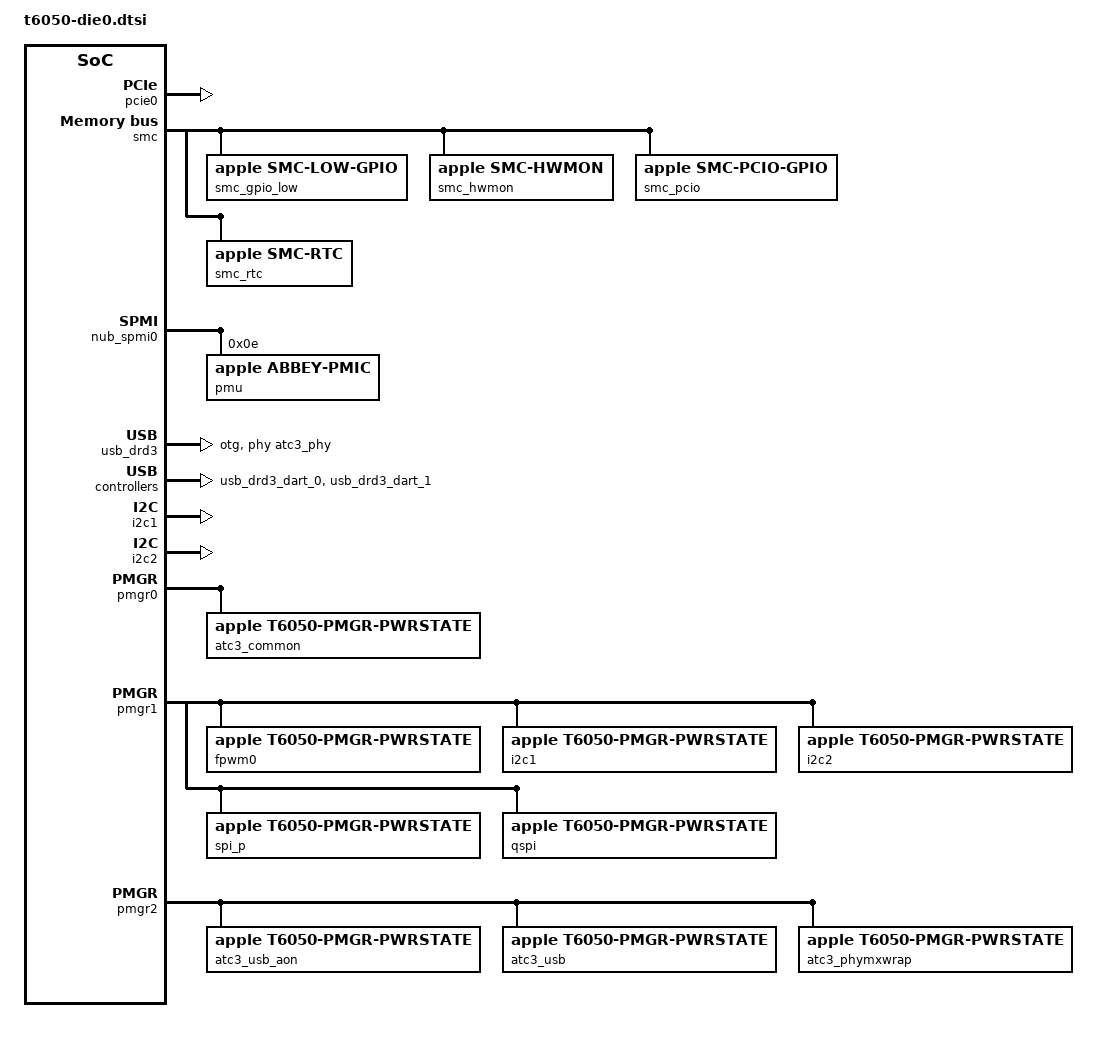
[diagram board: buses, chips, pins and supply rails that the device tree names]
// SPDX-License-Identifier: GPL-2.0+ OR MIT
/*
 * Nodes of the Apple T6050 (M5 Max, M5 Ultra) used on die 0 only: the
 * interrupt controller, which serves every die, and the blocks a two-die
 * part runs from die 0 (the SMC, storage, PCIe, the SPMI buses, the AOP,
 * the boot NOR) or so far describes there only (ATC2 and ATC3, the I2C
 * buses).
 *
 * Copyright The Asahi Linux Contributors
 */

&die0 {
	/* One AIC3 for every die, 3104 interrupts each */
	aic: interrupt-controller@280400000 {
		compatible = "apple,t6050-aic3", "apple,t8122-aic3";
		interrupt-controller;
		#interrupt-cells = <4>;
		reg = <0x2 0x80400000 0x0 0x1cc000>,
		      <0x2 0x80440000 0x0 0x4000>;
		reg-names = "core", "event";
	};

	/*
	 * DockChannel channel 1, the one the USB debug link carries.
	 * Its FIFO raises no interrupt on receive, so it is drained in
	 * software.
	 */
	dockchannel: serial@288e3c000 {
		compatible = "apple,dockchannel-uart";
		reg = <0x2 0x88e3c000 0x0 0x30>,
		      <0x2 0x88e38000 0x0 0x8>,
		      <0x2 0x88e0c000 0x0 0x18>;
		reg-names = "data", "config", "irq";
		interrupts = <AIC_IRQ 0 360 IRQ_TYPE_LEVEL_HIGH>;
		apple,channel = <1>;
		apple,sw-drain;
		status = "disabled";
	};

	wdt: watchdog@28836c000 {
		compatible = "apple,t6050-wdt", "apple,t8103-wdt";
		reg = <0x2 0x8836c000 0x0 0x4000>;
		clocks = <&clkref>;
		interrupts = <AIC_IRQ 0 721 IRQ_TYPE_LEVEL_HIGH>;
	};

	/*
	 * /arm-io/smc: reg[0] 0x8c600000 +0x88000 (the ASC; the SMC driver maps none of it), its mailbox
	 * the ASC v4 block at +0x8000 as on ANS. ADT interrupts [900, 899, 902, 901]: 899..902 in the
	 * send-empty, send-not-empty, recv-empty, recv-not-empty order. iop-smc-nub region-base
	 * 0x28de00000 +0x140000 is already a CPU address: the SRAM its RTKit buffers and key replies use.
	 * iBoot leaves the firmware (t6050smc) running.
	 */
	smc_mbox: mailbox@28c608000 {
		compatible = "apple,t6050-asc-mailbox", "apple,asc-mailbox-v4";
		reg = <0x2 0x8c608000 0x0 0x4000>;
		interrupts = <AIC_IRQ 0 899 IRQ_TYPE_LEVEL_HIGH>,
			     <AIC_IRQ 0 900 IRQ_TYPE_LEVEL_HIGH>,
			     <AIC_IRQ 0 901 IRQ_TYPE_LEVEL_HIGH>,
			     <AIC_IRQ 0 902 IRQ_TYPE_LEVEL_HIGH>;
		interrupt-names = "send-empty", "send-not-empty",
				  "recv-empty", "recv-not-empty";
		#mbox-cells = <0>;
	};

	/*
	 * The AOP's GPIO controller (ADT /arm-io/aop-gpio0, gpio,t8101, 85 pins). The AOP keeps
	 * interrupt groups 0-3; the AP's are 4-6 (supported-int-groups), AIC 572-574. Like T8132's, the block has slots
	 * that fault when read, so it is matched as T8132's (no register cache read-back).
	 * Pin 15 (force-dpfu) is never requested.
	 */
	pinctrl_aop: pinctrl@290824000 {
		compatible = "apple,t6050-pinctrl", "apple,t8132-pinctrl";
		reg = <0x2 0x90824000 0x0 0x4000>;
		gpio-controller;
		#gpio-cells = <2>;
		gpio-ranges = <&pinctrl_aop 0 0 85>;
		apple,npins = <85>;
		interrupt-controller;
		#interrupt-cells = <2>;
		interrupt-parent = <&aic>;
		interrupts = <AIC_IRQ 0 572 IRQ_TYPE_LEVEL_HIGH>,
			     <AIC_IRQ 0 573 IRQ_TYPE_LEVEL_HIGH>,
			     <AIC_IRQ 0 574 IRQ_TYPE_LEVEL_HIGH>;
		apple,irq-group-base = <4>;
		/* Enabled by the board, or by Aura with a display engine whose hotplug input it has */
		status = "disabled";
	};

	smc: smc@28c600000 {
		compatible = "apple,t6050-smc";
		reg = <0x2 0x8c600000 0x0 0x4000>,
		      <0x2 0x8de00000 0x0 0x140000>;
		reg-names = "smc", "sram";
		mboxes = <&smc_mbox>;

		/*
		 * The SMC's second GPIO bank: the lower-case gp keys (gp01 on), next to the
		 * gP keys of the first, as on T6030/T6031. The J716s trackpad's AFE reset is
		 * gp1c (line 28).
		 */
		smc_gpio_low: gpio-low {
			compatible = "apple,smc-low-gpio";
			gpio-controller;
			#gpio-cells = <2>;
		};

		/* T8142's key discovery (every readable T* float key); boards add their fan and power keys. */
		smc_hwmon: hwmon {
			compatible = "apple,smc-hwmon";
			apple,discover-temperatures;
			/* macsmc_soc_die: the SoC hotspot the SMC computes (TCMb, 47.8 C at idle) */
			apple,soc-die-keys = "TCMb";
		};

		/*
		 * The PMU's legacy scratchpad (info-leg_scrpad 0xf800) cells, as on T6040, and its
		 * power-on policy byte (info-pm_setting 0x2001, as on T6030) for ac_power_mode.
		 */
		smc_reboot: reboot {
			compatible = "apple,smc-reboot";
			nvmem-cells = <&shutdown_flag>, <&boot_stage>,
				      <&boot_error_count>, <&panic_count>, <&pm_setting>;
			nvmem-cell-names = "shutdown_flag", "boot_stage",
					   "boot_error_count", "panic_count", "pm_setting";
		};

		/*
		 * The SMC's pcIO power outputs: the board lists its lines (apple,output-commands) as
		 * pKW8('pcIO', lo, hi) templates, (hi << 32) | lo, with the level in bits 15:0.
		 */
		smc_pcio: gpio {
			compatible = "apple,smc-pcio-gpio";
			gpio-controller;
			#gpio-cells = <2>;
		};

		/* ADT info-clock_offset [0x2100, 6]: M1-style 32768 Hz ticks, as on T6040. */
		smc_rtc: rtc {
			compatible = "apple,smc-rtc";
			nvmem-cells = <&rtc_offset>;
			nvmem-cell-names = "rtc_offset";
		};
	};

	/*
	 * The storage SART. The boot loader's entries (outside the
	 * kernel's memory) stay in place.
	 */
	ans_sart: iommu@41dc50000 {
		compatible = "apple,t6050-sart";
		reg = <0x4 0x1dc50000 0x0 0xc000>;
	};

	ans_mbox: mailbox@419608000 {
		compatible = "apple,t6050-asc-mailbox", "apple,asc-mailbox-v4";
		reg = <0x4 0x19608000 0x0 0x4000>;
		interrupts = <AIC_IRQ 0 1347 IRQ_TYPE_LEVEL_HIGH>,
			     <AIC_IRQ 0 1348 IRQ_TYPE_LEVEL_HIGH>,
			     <AIC_IRQ 0 1349 IRQ_TYPE_LEVEL_HIGH>,
			     <AIC_IRQ 0 1350 IRQ_TYPE_LEVEL_HIGH>;
		interrupt-names = "send-empty", "send-not-empty",
				  "recv-empty", "recv-not-empty";
		#mbox-cells = <0>;
	};

	/*
	 * The boot loader leaves ANS running with the controller shut
	 * down. Its power stays with the firmware, and post-M4 ANS is
	 * never reset through PMGR, so the node names no power domain
	 * and no reset.
	 */
	nvme: nvme@45dcc0000 {
		compatible = "apple,t6050-nvme-ans2";
		reg = <0x4 0x5dcc0000 0x0 0x10000>,
		      <0x4 0x19600000 0x0 0x4000>,
		      <0x4 0x1dcc0000 0x0 0x60000>;
		reg-names = "nvme", "ans", "nvmmu";
		interrupts = <AIC_IRQ 0 2338 IRQ_TYPE_LEVEL_HIGH>;
		mboxes = <&ans_mbox>;
		apple,sart = <&ans_sart>;
	};

	/* The DARTs of PCIe ports 2 and 3 */
	dart_apcie2: iommu@412000000 {
		compatible = "apple,t6050-dart", "apple,t8110-dart";
		reg = <0x4 0x12000000 0x0 0x20000>;
		interrupts = <AIC_IRQ 0 1540 IRQ_TYPE_LEVEL_HIGH>;
		#iommu-cells = <1>;
		status = "disabled";
	};

	/*
	 * /arm-io/dart-apcie0: apcie port 0's, which carries the N1 (its mappers Control, Alpha and
	 * Beta on streams 1, 2 and 3). Disabled, like port 0, until the bootloader trains that port.
	 */
	dart_apcie0: iommu@410000000 {
		compatible = "apple,t6050-dart", "apple,t8110-dart";
		reg = <0x4 0x10000000 0x0 0x20000>;
		interrupts = <AIC_IRQ 0 1524 IRQ_TYPE_LEVEL_HIGH>;
		#iommu-cells = <1>;
		status = "disabled";
	};

	/* /arm-io/dart-apcie1: PCIe port 1's DART (the SD reader on the MacBook Pros) */
	dart_apcie1: iommu@411000000 {
		compatible = "apple,t6050-dart", "apple,t8110-dart";
		reg = <0x4 0x11000000 0x0 0x20000>;
		interrupts = <AIC_IRQ 0 1532 IRQ_TYPE_LEVEL_HIGH>;
		#iommu-cells = <1>;
		status = "disabled";
	};

	dart_apcie3: iommu@413000000 {
		compatible = "apple,t6050-dart", "apple,t8110-dart";
		reg = <0x4 0x13000000 0x0 0x20000>;
		interrupts = <AIC_IRQ 0 1548 IRQ_TYPE_LEVEL_HIGH>;
		#iommu-cells = <1>;
		status = "disabled";
	};

	/*
	 * /arm-io/nub-spmi0: reg[0] 0x8a014000 +0x4000, generation 4 (no IRQ: the driver refuses one).
	 * No power-domains: NUB_SPMI0 is critical and on (Aura talks to the PMU here every boot), and
	 * binding the pwrstate driver would write the PS register at probe.
	 */
	nub_spmi0: spmi@28a014000 {
		compatible = "apple,t6050-spmi", "apple,t8142-spmi";
		reg = <0x2 0x8a014000 0x0 0x4000>;
		#address-cells = <2>;
		#size-cells = <0>;

		/* spmi-abbeyL1, is-primary: USID 0xe. Read-only use: cells, never a whole-device read. */
		pmu: pmic@e {
			compatible = "apple,abbey-pmic", "apple,spmi-nvmem";
			reg = <0xe SPMI_USID>;

			nvmem-layout {
				compatible = "fixed-layout";
				#address-cells = <1>;
				#size-cells = <1>;

				/* ADT info-pm_setting: bit 0 no restore, bit 5 no power-on at connect */
				pm_setting: pm-setting@2001 {
					reg = <0x2001 1>;
				};

				rtc_offset: rtc-offset@2100 {
					reg = <0x2100 6>;	/* ADT info-clock_offset */
				};

				/* Abbey conventions (0xf802 is the counter Aura clears). */
				boot_stage: boot-stage@f801 {
					reg = <0xf801 1>;
				};

				boot_error_count: boot-error-count@f802,0 {
					reg = <0xf802 1>;
					bits = <0 4>;
				};

				panic_count: panic-count@f802,4 {
					reg = <0xf802 1>;
					bits = <4 4>;
				};

				shutdown_flag: shutdown-flag@f80f,3 {
					reg = <0xf80f 1>;
					bits = <3 1>;
				};
			};
		};
	};

	/*
	 * The PMC voter interface (die 0): agent a's floor word at "voters" + 0x4000 * a, with a
	 * pending word after it, and the honoured floors and rail enable words at "rails". Both lie
	 * inside dcpext0's PMC metadata range, which the DCP driver only hands to its firmware. Agents
	 * (ADT voter-agent): PMP 0, CLPC 1, GFX 2, AP 3, PMP1 4. The boot loader enables none on any
	 * rail; CLPC and AP become static voters. The PMP and GFX agents stay as the boot left them.
	 */
	pmc: power-management@286806000 {
		compatible = "apple,t6050-pmc";
		reg = <0x2 0x86806000 0x0 0x3000>,
		      <0x2 0x86700000 0x0 0x14000>;
		reg-names = "rails", "voters";
		#address-cells = <1>;
		#size-cells = <0>;
		apple,static-voters = <1 3>;

		clpc: performance-controller@1 {
			compatible = "apple,t6050-clpc", "apple,t6041-clpc";
			reg = <1>;
			apple,smc = <&smc>;
		};
	};

	/*
	 * PMGR block 0 + 0x20000 (/arm-io/pmgr reg[0] 0x280600000 + 0x20000): the page of die 0's
	 * CIO reconfiguration register (+0x60, request BIT(2n), busy BIT(2n + 1)), the routers'
	 * CIOn_RECONFIG_V operations (ADT 601-604). Outside the 16 KiB pmgr0 maps.
	 */
	cio_reconfig0: reset-controller@280620000 {
		compatible = "apple,t6050-cio-reset";
		reg = <0x2 0x80620000 0x0 0x4000>;
		#reset-cells = <1>;
		status = "disabled";
	};

	/* /arm-io/acio-phy-cpu2 reg[0]: the PHY firmware's mailbox (it runs, pre-loaded by iBoot) */
	atc2_phy_mbox: mailbox@383148000 {
		compatible = "apple,t6050-asc-mailbox", "apple,asc-mailbox-v4";
		reg = <0x3 0x83148000 0x0 0x4000>;
		interrupts = <AIC_IRQ 0 861 IRQ_TYPE_LEVEL_HIGH>,
			     <AIC_IRQ 0 862 IRQ_TYPE_LEVEL_HIGH>,
			     <AIC_IRQ 0 863 IRQ_TYPE_LEVEL_HIGH>,
			     <AIC_IRQ 0 864 IRQ_TYPE_LEVEL_HIGH>;
		interrupt-names = "send-empty", "send-not-empty", "recv-empty", "recv-not-empty";
		#mbox-cells = <0>;
		status = "disabled";
	};

	/* /arm-io/atc-phy2 regs [2] [0] usb-drd2[4] [39] [40] [41] [42] [43] [38] [37] usb-drd2[3] */
	atc2_phy: phy@383000000 {
		compatible = "apple,t6050-combo-phy";
		reg = <0x3 0x83000000 0x0 0x2c000>,
		      <0x3 0x82a90000 0x0 0x4000>,
		      <0x3 0x82800000 0x0 0x4000>,
		      <0x3 0x83200000 0x0 0x4000>,
		      <0x3 0x83244000 0x0 0x4000>,
		      <0x3 0x80000000 0x0 0x8000>,
		      <0x3 0x80020000 0x0 0x4000>,
		      <0x3 0x83250000 0x0 0x4000>,
		      <0x3 0x83140000 0x0 0x4000>,
		      <0x3 0x830c0000 0x0 0x10000>,
		      <0x3 0x82a84000 0x0 0x4000>;
		reg-names = "core", "usb2phy", "usb2-digital", "reset", "fabric", "axi2af", "lioa",
			    "common-cfg", "usb-control", "firmware-data", "pipehandler";
		#phy-cells = <1>;
		#reset-cells = <1>;
		apple,port-index = <2>;
		/* The binding's name for "no other owner"; nothing else drives this port here. */
		apple,guest-port-reserved;
		mode-switch;
		orientation-switch;
		mboxes = <&atc2_phy_mbox>;
		power-domains = <&ps_atc2_usb_aon>, <&ps_atc2_common>, <&ps_atc2_phymxwrap>,
				<&ps_atc2_usb>;
		power-domain-names = "usb-aon", "common", "wrapper", "usb";
		status = "disabled";
	};

	/* /arm-io/atc2-dpxbar */
	atc2_xbar: mux@38324c000 {
		compatible = "apple,t6050-display-crossbar", "apple,t8142-display-crossbar";
		reg = <0x3 0x8324c000 0x0 0x4000>;
		#mux-control-cells = <1>;
		power-domains = <&ps_atc2_usb_aon>, <&ps_atc2_common>;
		power-domain-names = "usb-aon", "common";
		status = "disabled";
	};

	/*
	 * /arm-io/nub-spmi-a0: reg[0] 0x8a188000, generation 4, a bus of the USB-C PD controllers
	 * (HPMs, the board's). They are polled (no interrupts), so the bus needs none either.
	 */
	nub_spmi_a0: spmi@28a188000 {
		compatible = "apple,t6050-spmi", "apple,t8142-spmi";
		reg = <0x2 0x8a188000 0x0 0x4000>;
		#address-cells = <2>;
		#size-cells = <0>;
	};

	/*
	 * ATC2's usb-drd2 and dart-usb2, for USB beside DisplayPort on ATC2. Disabled, like atc2_phy
	 * and its domains: dcpext0's display handoff or the board enables them.
	 */
	/* /arm-io/usb-drd2: reg[0] (core and Apple regions), reg[1] (drd-cfg), interrupt 1483; ATC1's tunables */
	usb_drd2: usb@382280000 {
		compatible = "apple,t6050-dwc3", "apple,t8103-dwc3";
		reg = <0x3 0x82280000 0x0 0xcd00>,
		      <0x3 0x8228cd00 0x0 0x4b00>,
		      <0x3 0x82200000 0x0 0x4000>;
		reg-names = "dwc3-core", "dwc3-apple", "drd-cfg";
		interrupts = <AIC_IRQ 0 1483 IRQ_TYPE_LEVEL_HIGH>;
		dr_mode = "otg";
		usb-role-switch;
		role-switch-default-mode = "host";
		iommus = <&usb_drd2_dart_0 0>, <&usb_drd2_dart_1 1>;
		power-domains = <&ps_atc2_usb>;
		resets = <&atc2_phy 0>;
		phys = <&atc2_phy PHY_TYPE_USB2>, <&atc2_phy PHY_TYPE_USB3>;
		phy-names = "usb2-phy", "usb3-phy";
		apple,tunable-gbl-default = <0x64 0x2 0x0>, <0x10 0xfff80000 0x00680000>;
		apple,tunable-gbl-host = <0x4 0x0001ef00 0x00002f00>, <0x1c 0x00000100 0x0>,
			<0x2c 0x000a07ff 0x000800c8>, <0x100 0x02000100 0x02000100>,
			<0x504 0x00001000 0x0>, <0x528 0xff0000ff 0x06000006>,
			<0x52c 0xff0000ff 0x08000008>, <0x580 0xffffffff 0x6f000006>,
			<0x584 0xffffffff 0x00060000>;
		apple,tunable-dbg = <0x0 0x8 0x8>;
		apple,tunable-cfg-host = <0x20 0xff 0x1b>;
		apple,tunable-link = <0x10 0xff000000 0xff000000>, <0x20 0x7ff00000 0x4e900000>,
			<0x24 0x001f8000 0x000b8000>, <0x60 0x0003ffff 0x00000600>;
		apple,tunable-cio = <0x20 0x00ff0000 0x001e0000>;
		/* USB beside DisplayPort: enabled with atc2_phy. */
		status = "disabled";
	};

	/* /arm-io/dart-usb2 reg[0] and reg[1], interrupt 1487; vm-base 0x10000004000 +0xffff0000 */
	usb_drd2_dart_0: iommu@382f00000 {
		compatible = "apple,t6050-dart", "apple,t8110-dart";
		reg = <0x3 0x82f00000 0x0 0xc000>;
		interrupts = <AIC_IRQ 0 1487 IRQ_TYPE_LEVEL_HIGH>;
		power-domains = <&ps_atc2_usb>;
		#iommu-cells = <1>;
		apple,dma-range = <0x100 0x4000 0x0 0xffff0000>;
		status = "disabled";
	};

	usb_drd2_dart_1: iommu@382f80000 {
		compatible = "apple,t6050-dart", "apple,t8110-dart";
		reg = <0x3 0x82f80000 0x0 0xc000>;
		interrupts = <AIC_IRQ 0 1487 IRQ_TYPE_LEVEL_HIGH>;
		power-domains = <&ps_atc2_usb>;
		#iommu-cells = <1>;
		apple,dma-range = <0x100 0x4000 0x0 0xffff0000>;
		status = "disabled";
	};

	/*
	 * ATC3: its combo PHY, usb-drd3 and dart-usb3, as ATC1's (ADT /arm-io/atc-phy3,
	 * acio-phy-cpu3, usb-drd3, dart-usb3), and its USB4/Thunderbolt router.
	 */
	/*
	 * ATC3's USB4/Thunderbolt router (/arm-io/acio3: rid 3, compatible acio,v2): the router
	 * coprocessor's mailbox, /arm-io/acio-cpu3 reg[0]. Its ADT interrupts
	 * are [868, 867, 870, 869]: send-empty is index 1 and recv-not-empty index 2, as for the
	 * PHY mailboxes. Disabled until the router driver is in.
	 */
	usb4_3_mbox: mailbox@389108000 {
		compatible = "apple,t6050-asc-mailbox", "apple,asc-mailbox-v4";
		reg = <0x3 0x89108000 0x0 0x4000>;
		interrupts = <AIC_IRQ 0 867 IRQ_TYPE_LEVEL_HIGH>,
			     <AIC_IRQ 0 868 IRQ_TYPE_LEVEL_HIGH>,
			     <AIC_IRQ 0 869 IRQ_TYPE_LEVEL_HIGH>,
			     <AIC_IRQ 0 870 IRQ_TYPE_LEVEL_HIGH>;
		interrupt-names = "send-empty", "send-not-empty", "recv-empty", "recv-not-empty";
		#mbox-cells = <0>;
		status = "disabled";
	};

	/*
	 * /arm-io/acio3 reg[1..3] (RC 0x389ac0000, HBW and LBW fabric: one 0xc000 window),
	 * the coprocessor's data SRAM (iop-acio3-nub segment __DATA at 0x389080000, firmware
	 * address 0x10000000, 0x26000) and its MxWrap wrapper (acio-cpu3 reg[1]); the 16 MiB
	 * window at 0x389000000 holds the children. Power: power-gates [122, 85, 120, 121] in
	 * the order the coprocessor's start powers them. The loader fills apple,tunable-rc
	 * (top, HBW and LBW tables) through the usb4-3-acio alias.
	 */
	usb4_3_acio: cio@389ac0000 {
		compatible = "apple,t6050-usb4-acio";
		reg = <0x3 0x89ac0000 0x0 0xc000>,
		      <0x3 0x89080000 0x0 0x26000>,
		      <0x3 0x89100000 0x0 0x4000>;
		reg-names = "rc", "sram", "cpu";
		mboxes = <&usb4_3_mbox>;
		resets = <&cio_reconfig0 3>;
		power-domains = <&ps_atc3_cio>, <&ps_atc3_cio_pcie>, <&ps_atc3_cio_usb>,
				<&ps_atc3_cio_auss>;
		thunderbolt-switch;
		#address-cells = <1>;
		#size-cells = <1>;
		ranges = <0x0 0x3 0x89000000 0x1000000>;
		nonposted-mmio;
		status = "disabled";

		/*
		 * /arm-io/dart-acio3 reg[0] (0x389a80000), interrupt 1702, sid-count 28, page-size
		 * 16384. The loader fills apple,tunable (dart-tunables-instance-0, 22 records).
		 */
		usb4_3_dart: iommu@a80000 {
			compatible = "apple,t6050-dart", "apple,t8110-dart";
			reg = <0xa80000 0xc000>;
			interrupt-parent = <&aic>;
			interrupts = <AIC_IRQ 0 1702 IRQ_TYPE_LEVEL_HIGH>;
			#iommu-cells = <5>;
		};

		/*
		 * /arm-io/acio3 reg[0] (0x389f00000). Its ADT interrupts list RX rings 1687-1698,
		 * then TX 1675-1686 (ring indices number TX first), then 1704, which is not a
		 * ring. Streams: TX 0-11, RX 16-27 (dart-acio3 sid), each in the DART's vm-base
		 * 0x10000000000 + vm-size 0x30000000000. The loader fills apple,tunable-nhi
		 * (hi_up/hi_dn merge and fw_int_ctl_management tables) and the DROM through the
		 * usb4-3-nhi alias.
		 */
		usb4_3_nhi: nhi@f00000 {
			compatible = "apple,t6050-usb4-nhi";
			reg = <0xf00000 0x100000>;
			reg-names = "nhi";
			interrupt-parent = <&aic>;
			interrupts = <AIC_IRQ 0 1675 IRQ_TYPE_LEVEL_HIGH>,
				     <AIC_IRQ 0 1676 IRQ_TYPE_LEVEL_HIGH>,
				     <AIC_IRQ 0 1677 IRQ_TYPE_LEVEL_HIGH>,
				     <AIC_IRQ 0 1678 IRQ_TYPE_LEVEL_HIGH>,
				     <AIC_IRQ 0 1679 IRQ_TYPE_LEVEL_HIGH>,
				     <AIC_IRQ 0 1680 IRQ_TYPE_LEVEL_HIGH>,
				     <AIC_IRQ 0 1681 IRQ_TYPE_LEVEL_HIGH>,
				     <AIC_IRQ 0 1682 IRQ_TYPE_LEVEL_HIGH>,
				     <AIC_IRQ 0 1683 IRQ_TYPE_LEVEL_HIGH>,
				     <AIC_IRQ 0 1684 IRQ_TYPE_LEVEL_HIGH>,
				     <AIC_IRQ 0 1685 IRQ_TYPE_LEVEL_HIGH>,
				     <AIC_IRQ 0 1686 IRQ_TYPE_LEVEL_HIGH>,
				     <AIC_IRQ 0 1687 IRQ_TYPE_LEVEL_HIGH>,
				     <AIC_IRQ 0 1688 IRQ_TYPE_LEVEL_HIGH>,
				     <AIC_IRQ 0 1689 IRQ_TYPE_LEVEL_HIGH>,
				     <AIC_IRQ 0 1690 IRQ_TYPE_LEVEL_HIGH>,
				     <AIC_IRQ 0 1691 IRQ_TYPE_LEVEL_HIGH>,
				     <AIC_IRQ 0 1692 IRQ_TYPE_LEVEL_HIGH>,
				     <AIC_IRQ 0 1693 IRQ_TYPE_LEVEL_HIGH>,
				     <AIC_IRQ 0 1694 IRQ_TYPE_LEVEL_HIGH>,
				     <AIC_IRQ 0 1695 IRQ_TYPE_LEVEL_HIGH>,
				     <AIC_IRQ 0 1696 IRQ_TYPE_LEVEL_HIGH>,
				     <AIC_IRQ 0 1697 IRQ_TYPE_LEVEL_HIGH>,
				     <AIC_IRQ 0 1698 IRQ_TYPE_LEVEL_HIGH>;
			interrupt-names = "txring0", "txring1", "txring2", "txring3",
					  "txring4", "txring5", "txring6", "txring7",
					  "txring8", "txring9", "txring10", "txring11",
					  "rxring0", "rxring1", "rxring2", "rxring3",
					  "rxring4", "rxring5", "rxring6", "rxring7",
					  "rxring8", "rxring9", "rxring10", "rxring11";
			iommus = <&usb4_3_dart 0 0x100 0x0 0x300 0x0>,
				 <&usb4_3_dart 1 0x100 0x0 0x300 0x0>,
				 <&usb4_3_dart 2 0x100 0x0 0x300 0x0>,
				 <&usb4_3_dart 3 0x100 0x0 0x300 0x0>,
				 <&usb4_3_dart 4 0x100 0x0 0x300 0x0>,
				 <&usb4_3_dart 5 0x100 0x0 0x300 0x0>,
				 <&usb4_3_dart 6 0x100 0x0 0x300 0x0>,
				 <&usb4_3_dart 7 0x100 0x0 0x300 0x0>,
				 <&usb4_3_dart 8 0x100 0x0 0x300 0x0>,
				 <&usb4_3_dart 9 0x100 0x0 0x300 0x0>,
				 <&usb4_3_dart 10 0x100 0x0 0x300 0x0>,
				 <&usb4_3_dart 11 0x100 0x0 0x300 0x0>,
				 <&usb4_3_dart 16 0x100 0x0 0x300 0x0>,
				 <&usb4_3_dart 17 0x100 0x0 0x300 0x0>,
				 <&usb4_3_dart 18 0x100 0x0 0x300 0x0>,
				 <&usb4_3_dart 19 0x100 0x0 0x300 0x0>,
				 <&usb4_3_dart 20 0x100 0x0 0x300 0x0>,
				 <&usb4_3_dart 21 0x100 0x0 0x300 0x0>,
				 <&usb4_3_dart 22 0x100 0x0 0x300 0x0>,
				 <&usb4_3_dart 23 0x100 0x0 0x300 0x0>,
				 <&usb4_3_dart 24 0x100 0x0 0x300 0x0>,
				 <&usb4_3_dart 25 0x100 0x0 0x300 0x0>,
				 <&usb4_3_dart 26 0x100 0x0 0x300 0x0>,
				 <&usb4_3_dart 27 0x100 0x0 0x300 0x0>;
			/* To be filled by the loader */
			apple,thunderbolt-drom = [00];
		};
	};

	/* /arm-io/acio-phy-cpu3 reg[0]: the PHY firmware's mailbox */
	atc3_phy_mbox: mailbox@38b148000 {
		compatible = "apple,t6050-asc-mailbox", "apple,asc-mailbox-v4";
		reg = <0x3 0x8b148000 0x0 0x4000>;
		interrupts = <AIC_IRQ 0 871 IRQ_TYPE_LEVEL_HIGH>,
			     <AIC_IRQ 0 872 IRQ_TYPE_LEVEL_HIGH>,
			     <AIC_IRQ 0 873 IRQ_TYPE_LEVEL_HIGH>,
			     <AIC_IRQ 0 874 IRQ_TYPE_LEVEL_HIGH>;
		interrupt-names = "send-empty", "send-not-empty", "recv-empty", "recv-not-empty";
		#mbox-cells = <0>;
	};

	/* /arm-io/atc-phy3 regs [2] [0] usb-drd3[4] [39] [40] [41] [42] [43] [38] [37] usb-drd3[3] */
	atc3_phy: phy@38b000000 {
		compatible = "apple,t6050-combo-phy";
		reg = <0x3 0x8b000000 0x0 0x2c000>,
		      <0x3 0x8aa90000 0x0 0x4000>,
		      <0x3 0x8a800000 0x0 0x4000>,
		      <0x3 0x8b200000 0x0 0x4000>,
		      <0x3 0x8b244000 0x0 0x4000>,
		      <0x3 0x88000000 0x0 0x8000>,
		      <0x3 0x88020000 0x0 0x4000>,
		      <0x3 0x8b250000 0x0 0x4000>,
		      <0x3 0x8b140000 0x0 0x4000>,
		      <0x3 0x8b0c0000 0x0 0x10000>,
		      <0x3 0x8aa84000 0x0 0x4000>;
		reg-names = "core", "usb2phy", "usb2-digital", "reset", "fabric", "axi2af", "lioa",
			    "common-cfg", "usb-control", "firmware-data", "pipehandler";
		#phy-cells = <1>;
		#reset-cells = <1>;
		apple,port-index = <3>;
		apple,guest-port-reserved;
		mode-switch;
		orientation-switch;
		mboxes = <&atc3_phy_mbox>;
		power-domains = <&ps_atc3_usb_aon>, <&ps_atc3_common>, <&ps_atc3_phymxwrap>,
				<&ps_atc3_usb>;
		power-domain-names = "usb-aon", "common", "wrapper", "usb";
	};

	/* /arm-io/usb-drd3: reg[0] (core and Apple regions), reg[1] (drd-cfg), interrupt 1515; ATC1's tunables */
	usb_drd3: usb@38a280000 {
		compatible = "apple,t6050-dwc3", "apple,t8103-dwc3";
		reg = <0x3 0x8a280000 0x0 0xcd00>,
		      <0x3 0x8a28cd00 0x0 0x4b00>,
		      <0x3 0x8a200000 0x0 0x4000>;
		reg-names = "dwc3-core", "dwc3-apple", "drd-cfg";
		interrupts = <AIC_IRQ 0 1515 IRQ_TYPE_LEVEL_HIGH>;
		dr_mode = "otg";
		usb-role-switch;
		role-switch-default-mode = "host";
		iommus = <&usb_drd3_dart_0 0>, <&usb_drd3_dart_1 1>;
		power-domains = <&ps_atc3_usb>;
		resets = <&atc3_phy 0>;
		phys = <&atc3_phy PHY_TYPE_USB2>, <&atc3_phy PHY_TYPE_USB3>;
		phy-names = "usb2-phy", "usb3-phy";
		apple,tunable-gbl-default = <0x64 0x2 0x0>, <0x10 0xfff80000 0x00680000>;
		apple,tunable-gbl-host = <0x4 0x0001ef00 0x00002f00>, <0x1c 0x00000100 0x0>,
			<0x2c 0x000a07ff 0x000800c8>, <0x100 0x02000100 0x02000100>,
			<0x504 0x00001000 0x0>, <0x528 0xff0000ff 0x06000006>,
			<0x52c 0xff0000ff 0x08000008>, <0x580 0xffffffff 0x6f000006>,
			<0x584 0xffffffff 0x00060000>;
		apple,tunable-dbg = <0x0 0x8 0x8>;
		apple,tunable-cfg-host = <0x20 0xff 0x1b>;
		apple,tunable-link = <0x10 0xff000000 0xff000000>, <0x20 0x7ff00000 0x4e900000>,
			<0x24 0x001f8000 0x000b8000>, <0x60 0x0003ffff 0x00000600>;
		apple,tunable-cio = <0x20 0x00ff0000 0x001e0000>;
	};

	/* /arm-io/dart-usb3 reg[0] and reg[1], interrupt 1519; vm-base 0x10000004000 +0xffff0000 */
	usb_drd3_dart_0: iommu@38af00000 {
		compatible = "apple,t6050-dart", "apple,t8110-dart";
		reg = <0x3 0x8af00000 0x0 0xc000>;
		interrupts = <AIC_IRQ 0 1519 IRQ_TYPE_LEVEL_HIGH>;
		power-domains = <&ps_atc3_usb>;
		#iommu-cells = <1>;
		apple,dma-range = <0x100 0x4000 0x0 0xffff0000>;
	};

	usb_drd3_dart_1: iommu@38af80000 {
		compatible = "apple,t6050-dart", "apple,t8110-dart";
		reg = <0x3 0x8af80000 0x0 0xc000>;
		interrupts = <AIC_IRQ 0 1519 IRQ_TYPE_LEVEL_HIGH>;
		power-domains = <&ps_atc3_usb>;
		#iommu-cells = <1>;
		apple,dma-range = <0x100 0x4000 0x0 0xffff0000>;
	};

	/*
	 * /arm-io/nub-spmi-a2: reg[0] 0x8a1c8000, generation 4, on die 0 like nub-spmi-a0, also for
	 * the HPMs of ports on die 1. Its HPMs are polled, as a0's are.
	 */
	nub_spmi_a2: spmi@28a1c8000 {
		compatible = "apple,t6050-spmi", "apple,t8142-spmi";
		reg = <0x2 0x8a1c8000 0x0 0x4000>;
		#address-cells = <2>;
		#size-cells = <0>;
	};

	/*
	 * The AOP's audio path: the AP GPIO block, the I2C1/I2C2 buses and their power states (in
	 * pmgr1, below), and the AOP with its mailbox, dart-aop and the ADMAC its audio streams use.
	 * From the ADT (arm-io ranges +0x200000000). The AOP, its mailboxes, dart-aop and the ADMAC are
	 * disabled here: iBoot leaves the AOP halted on locked dart-aop tables, and the boards that
	 * boot it enable them.
	 */
	pinctrl_ap: pinctrl@29c000000 {
		compatible = "apple,t6050-pinctrl", "apple,t8103-pinctrl";
		reg = <0x2 0x9c000000 0x0 0x44000>;
		gpio-controller;
		#gpio-cells = <2>;
		gpio-ranges = <&pinctrl_ap 0 0 221>;
		apple,npins = <221>;
		interrupt-controller;
		#interrupt-cells = <2>;
		interrupt-parent = <&aic>;
		interrupts = <AIC_IRQ 0 486 IRQ_TYPE_LEVEL_HIGH>,
			     <AIC_IRQ 0 487 IRQ_TYPE_LEVEL_HIGH>,
			     <AIC_IRQ 0 488 IRQ_TYPE_LEVEL_HIGH>,
			     <AIC_IRQ 0 489 IRQ_TYPE_LEVEL_HIGH>,
			     <AIC_IRQ 0 490 IRQ_TYPE_LEVEL_HIGH>,
			     <AIC_IRQ 0 491 IRQ_TYPE_LEVEL_HIGH>,
			     <AIC_IRQ 0 492 IRQ_TYPE_LEVEL_HIGH>;
	};

	i2c1: i2c@505014000 {
		compatible = "apple,t6050-i2c", "apple,t8103-i2c";
		reg = <0x5 0x05014000 0x0 0x4000>;
		clocks = <&clkref>;
		interrupt-parent = <&aic>;
		interrupts = <AIC_IRQ 0 1376 IRQ_TYPE_LEVEL_HIGH>;
		#address-cells = <1>;
		#size-cells = <0>;
		power-domains = <&ps_i2c1>;
	};

	i2c2: i2c@505018000 {
		compatible = "apple,t6050-i2c", "apple,t8103-i2c";
		reg = <0x5 0x05018000 0x0 0x4000>;
		clocks = <&clkref>;
		interrupt-parent = <&aic>;
		interrupts = <AIC_IRQ 0 1377 IRQ_TYPE_LEVEL_HIGH>;
		#address-cells = <1>;
		#size-cells = <0>;
		power-domains = <&ps_i2c2>;
	};

	/*
	 * The three FPWM channels (ADT /arm-io/pwm0, pwm1, pwm2, "fpwm,s5l8920x") at
	 * 0x305040000, 0x305044000 and 0x305048000, clock gates FPWM0..FPWM2. The boards say
	 * what drives each one: on the MacBook Pros pwm0 is the keyboard backlight, and on the
	 * PROLED models pwm1 is the rear Apple logo. pwm1's power state is left off unless a
	 * board uses it, since J716c's ADT ties it to the indicator controller (eic).
	 */
	fpwm0: pwm@505040000 {
		compatible = "apple,t6050-fpwm", "apple,s5l-fpwm";
		reg = <0x5 0x05040000 0x0 0x4000>;
		clocks = <&clkref>;
		power-domains = <&ps_fpwm0>;
		#pwm-cells = <2>;
		status = "disabled";
	};

	fpwm1: pwm@505044000 {
		compatible = "apple,t6050-fpwm", "apple,s5l-fpwm";
		reg = <0x5 0x05044000 0x0 0x4000>;
		clocks = <&clkref>;
		power-domains = <&ps_fpwm1>;
		#pwm-cells = <2>;
		status = "disabled";
	};

	fpwm2: pwm@505048000 {
		compatible = "apple,t6050-fpwm", "apple,s5l-fpwm";
		reg = <0x5 0x05048000 0x0 0x4000>;
		clocks = <&clkref>;
		power-domains = <&ps_fpwm2>;
		#pwm-cells = <2>;
		status = "disabled";
	};

	/*
	 * The boot NOR (ADT /arm-io/qspi, "qspi,qspimc"): P at 0x305118000 and C at P + 0x800,
	 * each 0x4000 in the ADT; one resource for their union. Interrupt 1373, clock id 440
	 * (/arm-io clock-frequencies[184], 405 MHz). spi-apple-qspi's T8140 policy: data
	 * reads anywhere, programs and erases only inside the nvram partition.
	 */
	qspi: spi@505118000 {
		compatible = "apple,t6050-qspi", "apple,t8140-qspi";
		reg = <0x5 0x05118000 0x0 0x4800>;
		clocks = <&clk_405m>;
		interrupt-parent = <&aic>;
		interrupts = <AIC_IRQ 0 1373 IRQ_TYPE_LEVEL_HIGH>;
		power-domains = <&ps_qspi>;
		#address-cells = <1>;
		#size-cells = <0>;
		status = "disabled";
	};

	/* The ASC v4 mailbox at the AOP ASC + 0x8000; ADT interrupts 578..581 in mailbox order */
	aop_mbox: mailbox@290608000 {
		compatible = "apple,t6050-asc-mailbox", "apple,asc-mailbox-v4";
		reg = <0x2 0x90608000 0x0 0x4000>;
		interrupts = <AIC_IRQ 0 578 IRQ_TYPE_LEVEL_HIGH>,
			     <AIC_IRQ 0 579 IRQ_TYPE_LEVEL_HIGH>,
			     <AIC_IRQ 0 580 IRQ_TYPE_LEVEL_HIGH>,
			     <AIC_IRQ 0 581 IRQ_TYPE_LEVEL_HIGH>;
		interrupt-names = "send-empty", "send-not-empty",
				  "recv-empty", "recv-not-empty";
		#mbox-cells = <0>;
		status = "disabled";
	};

	/*
	 * dart-aop: streams 0 (AOP), 3, 8 (admac-base-ns), 10 and 16 are the AP's; 1, 9 and 11 are
	 * exclave streams. iBoot leaves its tables locked on the ADT's l1-tt roots: each consumer
	 * binds one stream and the locked-DART path publishes into its free slots.
	 */
	aop_dart: iommu@290fc0000 {
		compatible = "apple,t6050-dart", "apple,t8110-dart";
		reg = <0x2 0x90fc0000 0x0 0xc000>;
		#iommu-cells = <1>;
		interrupt-parent = <&aic>;
		interrupts = <AIC_IRQ 0 616 IRQ_TYPE_LEVEL_HIGH>;
		status = "disabled";
	};

	/* ADT admac-base-ns: 13 TX and 13 RX channels; the AOP firmware owns its fabric */
	admac_base_ns: dma-controller@293800000 {
		compatible = "apple,t6050-admac", "apple,t8140-admac";
		reg = <0x2 0x93800000 0x0 0x34000>;
		dma-channels = <13>;
		interrupts-extended = <&aic AIC_IRQ 0 637 IRQ_TYPE_LEVEL_HIGH>,
				      <0>, <0>, <0>;
		#dma-cells = <1>;
		iommus = <&aop_dart 8>;
		apple,dma-range = <0x110 0x00000000 0x0 0x10000000>;
		status = "disabled";
	};

	/*
	 * The AOP: its SRAM window (ADT reg[2]) and its ASC (reg[0]). Its firmware is loaded and
	 * left halted by iBoot. Booted as on T8142, over the RTKit mailbox and the setup port.
	 */
	aop: aop@290c00000 {
		compatible = "apple,t6050-aop", "apple,t8152-aop";
		reg = <0x2 0x90c00000 0x0 0x1e0000>,
		      <0x2 0x90600000 0x0 0x4000>;
		reg-names = "mmio", "asc";
		mboxes = <&aop_mbox>, <&aop_setup_mbox>;
		mbox-names = "mbox", "setup";
		iommus = <&aop_dart 0>;
		apple,dma-range = <0x110 0x0 0x10 0x0>;
		status = "disabled";

		/*
		 * ADT iop-audio-controller: cout/cin (the jack) on base-ns TX2/RX2, spkr on TX0 with
		 * the amp's V/I sense on RX0 (Linux channel 2N for TX N, 2N+1 for RX N).
		 */
		aop_audio: audio {
			compatible = "apple,t6050-aop-audio";
			dmas = <&admac_base_ns 4>, <&admac_base_ns 5>,
			       <&admac_base_ns 0>, <&admac_base_ns 1>;
			dma-names = "cout", "cin", "spkr", "sense";
			#sound-dai-cells = <1>;
		};

		/*
		 * The firmware's "als" service, a VD6286. It reports once it has the machine's
		 * calibration, which the driver loads as apple/aop-als-cal.bin.
		 */
		aop_als: als {
			compatible = "apple,t6050-aop-als", "apple,aop-als";
			firmware-name = "apple/aop-als-cal.bin";
		};

		/* The firmware's "las" service: the lid angle, as on T6020 and T8112. */
		aop_las: las {
			compatible = "apple,t6050-aop-las", "apple,aop-las";
		};
	};
};

/*
 * The Type-C chains of ATC2 and ATC3 and the routers' shared AUSS, all disabled where the board
 * or the display handoff enables them (ATC2's: what dcpext0 references, its PHY's mailbox and
 * power domains). Addresses from the ADT (arm-io ranges +0x200000000).
 */
&pmgr0 {
	ps_atc2_common: power-controller@238 {
		compatible = "apple,t6050-pmgr-pwrstate", "apple,t8103-pmgr-pwrstate";
		reg = <0x238 4>;
		label = "atc2_common";
		#power-domain-cells = <0>;
		#reset-cells = <0>;
		status = "disabled";
	};

	/* ATC3_COMMON, ADT gate 62. Its parent FAB5_SOC (+0x1f0) is critical: always on. */
	ps_atc3_common: power-controller@240 {
		compatible = "apple,t6050-pmgr-pwrstate", "apple,t8103-pmgr-pwrstate";
		reg = <0x240 4>;
		label = "atc3_common";
		#power-domain-cells = <0>;
		#reset-cells = <0>;
	};

	/*
	 * AUSS, ADT gate 63 (+0x248), parent FAB5_SOC: the shared parent of die 0's
	 * router CIO_AUSS domains. Its other users are not described, so Linux never
	 * turns it off under them.
	 */
	ps_auss: power-controller@248 {
		compatible = "apple,t6050-pmgr-pwrstate", "apple,t8103-pmgr-pwrstate";
		reg = <0x248 4>;
		label = "auss";
		#power-domain-cells = <0>;
		#reset-cells = <0>;
		apple,always-on;
		status = "disabled";
	};

	/*
	 * ATC3's USB4 router (/arm-io/acio3 power-gates [122, 85, 120, 121]):
	 * ATC3_CIO gate 85 (+0x2f8, parent 62), ATC3_CIO_PCIE 120 (+0x410) and ATC3_CIO_USB
	 * 121 (+0x418, parent 85), ATC3_CIO_AUSS 122 (+0x420, parents 85 and 63). Its
	 * clock-gate 604, CIO3_RECONFIG_V, has no power state: it is cio_reconfig0's reset 3.
	 */
	ps_atc3_cio: power-controller@2f8 {
		compatible = "apple,t6050-pmgr-pwrstate", "apple,t8103-pmgr-pwrstate";
		reg = <0x2f8 4>;
		label = "atc3_cio";
		#power-domain-cells = <0>;
		#reset-cells = <0>;
		power-domains = <&ps_atc3_common>;
		status = "disabled";
	};

	ps_atc3_cio_pcie: power-controller@410 {
		compatible = "apple,t6050-pmgr-pwrstate", "apple,t8103-pmgr-pwrstate";
		reg = <0x410 4>;
		label = "atc3_cio_pcie";
		#power-domain-cells = <0>;
		#reset-cells = <0>;
		power-domains = <&ps_atc3_cio>;
		status = "disabled";
	};

	ps_atc3_cio_usb: power-controller@418 {
		compatible = "apple,t6050-pmgr-pwrstate", "apple,t8103-pmgr-pwrstate";
		reg = <0x418 4>;
		label = "atc3_cio_usb";
		#power-domain-cells = <0>;
		#reset-cells = <0>;
		power-domains = <&ps_atc3_cio>;
		status = "disabled";
	};

	ps_atc3_cio_auss: power-controller@420 {
		compatible = "apple,t6050-pmgr-pwrstate", "apple,t8103-pmgr-pwrstate";
		reg = <0x420 4>;
		label = "atc3_cio_auss";
		#power-domain-cells = <0>;
		#reset-cells = <0>;
		power-domains = <&ps_atc3_cio>, <&ps_auss>;
		status = "disabled";
	};
};

&pmgr1 {
	ps_fpwm0: power-controller@2a8 {
		compatible = "apple,t6050-pmgr-pwrstate", "apple,t8103-pmgr-pwrstate";
		reg = <0x2a8 4>;
		#power-domain-cells = <0>;
		#reset-cells = <0>;
		label = "fpwm0";
	};

	ps_fpwm1: power-controller@2b0 {
		compatible = "apple,t6050-pmgr-pwrstate", "apple,t8103-pmgr-pwrstate";
		reg = <0x2b0 4>;
		#power-domain-cells = <0>;
		#reset-cells = <0>;
		label = "fpwm1";
		/* On J716c the secure firmware's indicator controller names this state */
		status = "disabled";
	};

	ps_fpwm2: power-controller@2b8 {
		compatible = "apple,t6050-pmgr-pwrstate", "apple,t8103-pmgr-pwrstate";
		reg = <0x2b8 4>;
		#power-domain-cells = <0>;
		#reset-cells = <0>;
		label = "fpwm2";
		status = "disabled";
	};

	ps_i2c1: power-controller@2c8 {
		compatible = "apple,t6050-pmgr-pwrstate", "apple,t8103-pmgr-pwrstate";
		reg = <0x2c8 4>;
		#power-domain-cells = <0>;
		#reset-cells = <0>;
		label = "i2c1";
	};

	ps_i2c2: power-controller@2d0 {
		compatible = "apple,t6050-pmgr-pwrstate", "apple,t8103-pmgr-pwrstate";
		reg = <0x2d0 4>;
		#power-domain-cells = <0>;
		#reset-cells = <0>;
		label = "i2c2";
	};

	/*
	 * The boot NOR's controller: ADT pmgr devices SPI_P (id 199, +0x308) and
	 * QSPI (id 208, +0x350, /arm-io/qspi clock-gates), group 1. SPI_P's parent
	 * SIO (184) is left undescribed, as for the I2C states above.
	 */
	ps_spi_p: power-controller@308 {
		compatible = "apple,t6050-pmgr-pwrstate", "apple,t8103-pmgr-pwrstate";
		reg = <0x308 4>;
		#power-domain-cells = <0>;
		#reset-cells = <0>;
		label = "spi_p";
	};

	ps_qspi: power-controller@350 {
		compatible = "apple,t6050-pmgr-pwrstate", "apple,t8103-pmgr-pwrstate";
		reg = <0x350 4>;
		#power-domain-cells = <0>;
		#reset-cells = <0>;
		label = "qspi";
		power-domains = <&ps_spi_p>;
	};
};

&pmgr2 {
	ps_atc2_usb_aon: power-controller@178 {
		compatible = "apple,t6050-pmgr-pwrstate", "apple,t8103-pmgr-pwrstate";
		reg = <0x178 4>;
		label = "atc2_usb_aon";
		apple,always-on; /* The ATC PHY loses its state without it */
		#power-domain-cells = <0>;
		#reset-cells = <0>;
		status = "disabled";
	};

	ps_atc2_phymxwrap: power-controller@188 {
		compatible = "apple,t6050-pmgr-pwrstate", "apple,t8103-pmgr-pwrstate";
		reg = <0x188 4>;
		label = "atc2_phymxwrap";
		#power-domain-cells = <0>;
		#reset-cells = <0>;
		power-domains = <&ps_atc2_common>, <&ps_atc2_usb_aon>;
		status = "disabled";
	};

	/* usb-drd2's clock gate; the PHY's USB2 banks need it too */
	ps_atc2_usb: power-controller@180 {
		compatible = "apple,t6050-pmgr-pwrstate", "apple,t8103-pmgr-pwrstate";
		reg = <0x180 4>;
		label = "atc2_usb";
		#power-domain-cells = <0>;
		#reset-cells = <0>;
		power-domains = <&ps_atc2_common>, <&ps_atc2_usb_aon>;
		status = "disabled";
	};

	/* ATC3: ADT gates 269, 270 (usb-drd3) and 271 */
	ps_atc3_usb_aon: power-controller@190 {
		compatible = "apple,t6050-pmgr-pwrstate", "apple,t8103-pmgr-pwrstate";
		reg = <0x190 4>;
		label = "atc3_usb_aon";
		apple,always-on; /* The ATC PHY loses its state without it */
		#power-domain-cells = <0>;
		#reset-cells = <0>;
	};

	ps_atc3_usb: power-controller@198 {
		compatible = "apple,t6050-pmgr-pwrstate", "apple,t8103-pmgr-pwrstate";
		reg = <0x198 4>;
		label = "atc3_usb";
		#power-domain-cells = <0>;
		#reset-cells = <0>;
		power-domains = <&ps_atc3_common>, <&ps_atc3_usb_aon>;
	};

	ps_atc3_phymxwrap: power-controller@1a0 {
		compatible = "apple,t6050-pmgr-pwrstate", "apple,t8103-pmgr-pwrstate";
		reg = <0x1a0 4>;
		label = "atc3_phymxwrap";
		#power-domain-cells = <0>;
		#reset-cells = <0>;
		power-domains = <&ps_atc3_common>, <&ps_atc3_usb_aon>;
	};
};

/*
 * DisplayPort out through ATC2: die 0's dcpext0 route (crossbar index 0, typec-dptx-phys 2).
 * The board links the route to its connector.
 */
&dcpext0 {
	apple,connector-type = "USB-C";
	apple,dptx-die = <0>;
	apple,typec-dptx-phys = <2>;
	apple,typec-mux-indices = <0>;
	phys = <&atc2_phy 6>;
	phy-names = "typec0";
	mux-controls = <&atc2_xbar 0>;
	mux-control-names = "typec0";

	typec-routes {
		#address-cells = <1>;
		#size-cells = <0>;

		route@0 {
			reg = <0>;
			mode-switch;
		};
	};
};

/ {
	/*
	 * The internal PCIe host (apcie). The boot loader powers and trains the links of the
	 * ports the board uses and keeps power, clocks, the PHYs and PERST; Linux owns the
	 * routing, MSI and the DARTs. The board names those ports: their registers and
	 * interrupts (config and rc, then each port's portN, phyN and intr2axiN), its
	 * iommu-map and bus-range, and a node per port. One MSI domain for all ports: vectors
	 * 64-127.
	 */
	pcie0: pcie@1cb0000000 {
		compatible = "apple,t6050-pcie";
		device_type = "pci";
		nonposted-mmio;

		msi-controller;
		msi-parent = <&pcie0>;
		msi-ranges = <&aic AIC_IRQ 0 1888 IRQ_TYPE_EDGE_RISING 64>;
		apple,msi-vector-base = <64>;

		iommu-map-mask = <0xffff>;
		dma-coherent;
		linux,pci-domain = <0>;
		#address-cells = <3>;
		#size-cells = <2>;
		ranges = <0x02000000 0x0 0x80000000 0xb 0x80000000 0x0 0x40000000>,
			 <0x43000000 0xb 0xc0000000 0xb 0xc0000000 0x0 0x20000000>;
	};
};
